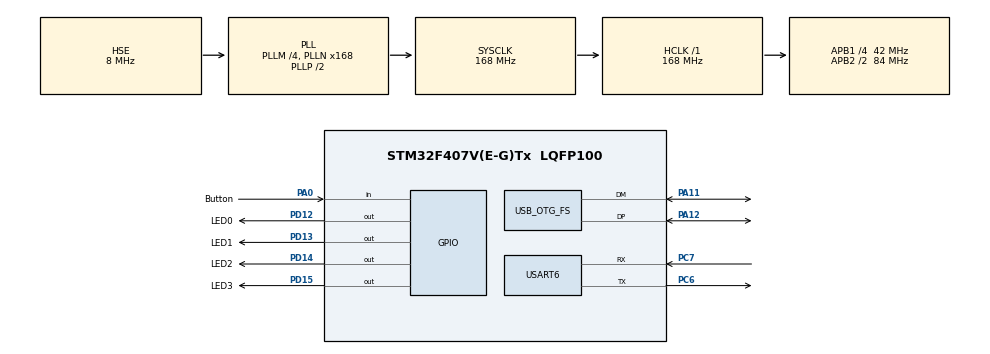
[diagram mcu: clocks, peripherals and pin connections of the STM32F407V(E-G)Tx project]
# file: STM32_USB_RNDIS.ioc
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Mcu.Family=STM32F4
Mcu.Name=STM32F407V(E-G)Tx
Mcu.Package=LQFP100
NVIC.OTG_FS_IRQn=true\:0\:0\:false\:false\:true\:false\:true
NVIC.PriorityGroup=NVIC_PRIORITYGROUP_4
PA0-WKUP.GPIO_Label=Button
PA0-WKUP.Signal=GPIO_Input
PA11.Mode=Device_Only
PA11.Signal=USB_OTG_FS_DM
PA12.Mode=Device_Only
PA12.Signal=USB_OTG_FS_DP
PC6.Mode=Asynchronous
PC6.Signal=USART6_TX
PC7.Mode=Asynchronous
PC7.Signal=USART6_RX
PD12.GPIO_Label=LED0
PD12.Signal=GPIO_Output
PD13.GPIO_Label=LED1
PD13.Signal=GPIO_Output
PD14.GPIO_Label=LED2
PD14.Signal=GPIO_Output
PD15.GPIO_Label=LED3
PD15.Signal=GPIO_Output
PH0-OSC_IN.Mode=HSE-External-Oscillator
PH0-OSC_IN.Signal=RCC_OSC_IN
PH1-OSC_OUT.Mode=HSE-External-Oscillator
PH1-OSC_OUT.Signal=RCC_OSC_OUT
ProjectManager.HeapSize=0x200
ProjectManager.StackSize=0x400
ProjectManager.TargetToolchain=STM32CubeIDE
RCC.48MHZClocksFreq_Value=48000000
RCC.AHBFreq_Value=168000000
RCC.APB1CLKDivider=RCC_HCLK_DIV4
RCC.APB1Freq_Value=42000000
RCC.APB1TimFreq_Value=84000000
RCC.APB2CLKDivider=RCC_HCLK_DIV2
RCC.APB2Freq_Value=84000000
RCC.APB2TimFreq_Value=168000000
RCC.CortexFreq_Value=168000000
RCC.HCLKFreq_Value=168000000
RCC.HSE_VALUE=8000000
RCC.HSI_VALUE=16000000
RCC.LSE_VALUE=32768
RCC.PLLM=4
RCC.PLLN=168
RCC.PLLQ=7
RCC.SYSCLKFreq_VALUE=168000000
RCC.SYSCLKSource=RCC_SYSCLKSOURCE_PLLCLK
RCC.VCOOutputFreq_Value=336000000
USART6.VirtualMode=VM_ASYNC
USB_DEVICE.CLASS_NAME_FS=CDC
USB_DEVICE.VirtualMode-CDC_FS=Cdc
USB_DEVICE.VirtualModeFS=Cdc_FS
USB_OTG_FS.VirtualMode=Device_Only
VP_USB_DEVICE_VS_USB_DEVICE_CDC_FS.Mode=CDC_FS
board=custom

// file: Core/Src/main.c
/* USER CODE BEGIN Header */
/**
  ******************************************************************************
  * @file           : main.c
  * @brief          : Main program body
  ******************************************************************************
  * @attention
  *
  * <h2><center>&copy; Copyright (c) 2020 STMicroelectronics.
  * All rights reserved.</center></h2>
  *
  * This software component is licensed by ST under BSD 3-Clause license,
  * the "License"; You may not use this file except in compliance with the
  * License. You may obtain a copy of the License at:
  *                        opensource.org/licenses/BSD-3-Clause
  *
  ******************************************************************************
  */
/* USER CODE END Header */

#include "main.h"
#include "usart.h"
#include "usb_device.h"
#include "gpio.h"

/* USER CODE BEGIN Includes */
#include "lwip/netif.h"
#include "usbd_cdc_rndis_if.h"
#include "stdio.h"
/* USER CODE END Includes */

/* USER CODE BEGIN PV */
USBD_HandleTypeDef        USBD_Device;
struct netif              gnetif;
__IO uint32_t LEDTimer =  LED_TIMER_LONG;
/* USER CODE END PV */

void SystemClock_Config(void);

/* USER CODE BEGIN 0 */
void Toggle_Leds(void)
{
  static uint32_t ticks;
  ticks++ ;
  if(ticks >= LEDTimer)
  {
    HAL_GPIO_TogglePin(LED0_GPIO_Port, LED0_Pin);
    ticks = 0;
  }
}

/* redirect printf to uart */
int __io_putchar(int ch) {
  huart6.Instance->DR = (ch);
  while (__HAL_UART_GET_FLAG(&huart6, UART_FLAG_TC) == 0);
  return ch;
}
/* USER CODE END 0 */

int main(void)
{
  /* USER CODE BEGIN 1 */

  /* io buffer off*/
  /* redirect printf to uart */
  setvbuf(stdout, NULL, _IONBF, 0);

  /* USER CODE END 1 */

  /* MCU Configuration--------------------------------------------------------*/

  /* Reset of all peripherals, Initializes the Flash interface and the Systick. */
  HAL_Init();

  /* Configure the system clock */
  SystemClock_Config();

  /* Initialize all configured peripherals */
  MX_GPIO_Init();
  MX_USB_DEVICE_Init();
  MX_USART6_UART_Init();

  /* Infinite loop */
  /* USER CODE BEGIN WHILE */
  while (1)
  {
    /* Background process of CDC_RNDIS class */
       Toggle_Leds();
       USBD_CDC_RNDIS_fops.Process(&USBD_Device);

    /* USER CODE END WHILE */

  }
}

void SystemClock_Config(void)
{
  RCC_OscInitTypeDef RCC_OscInitStruct = {0};
  RCC_ClkInitTypeDef RCC_ClkInitStruct = {0};

  /** Configure the main internal regulator output voltage
  */
  __HAL_RCC_PWR_CLK_ENABLE();
  __HAL_PWR_VOLTAGESCALING_CONFIG(PWR_REGULATOR_VOLTAGE_SCALE1);
  /** Initializes the CPU, AHB and APB busses clocks
  */
  RCC_OscInitStruct.OscillatorType = RCC_OSCILLATORTYPE_HSE;
  RCC_OscInitStruct.HSEState = RCC_HSE_ON;
  RCC_OscInitStruct.PLL.PLLState = RCC_PLL_ON;
  RCC_OscInitStruct.PLL.PLLSource = RCC_PLLSOURCE_HSE;
  RCC_OscInitStruct.PLL.PLLM = 4;
  RCC_OscInitStruct.PLL.PLLN = 168;
  RCC_OscInitStruct.PLL.PLLP = RCC_PLLP_DIV2;
  RCC_OscInitStruct.PLL.PLLQ = 7;
  if (HAL_RCC_OscConfig(&RCC_OscInitStruct) != HAL_OK)
  {
    Error_Handler();
  }
  /** Initializes the CPU, AHB and APB busses clocks
  */
  RCC_ClkInitStruct.ClockType = RCC_CLOCKTYPE_HCLK|RCC_CLOCKTYPE_SYSCLK
                              |RCC_CLOCKTYPE_PCLK1|RCC_CLOCKTYPE_PCLK2;
  RCC_ClkInitStruct.SYSCLKSource = RCC_SYSCLKSOURCE_PLLCLK;
  RCC_ClkInitStruct.AHBCLKDivider = RCC_SYSCLK_DIV1;
  RCC_ClkInitStruct.APB1CLKDivider = RCC_HCLK_DIV4;
  RCC_ClkInitStruct.APB2CLKDivider = RCC_HCLK_DIV2;

  if (HAL_RCC_ClockConfig(&RCC_ClkInitStruct, FLASH_LATENCY_5) != HAL_OK)
  {
    Error_Handler();
  }
}

void Error_Handler(void)
{
}

/************************ (C) COPYRIGHT STMicroelectronics *****END OF FILE****/
